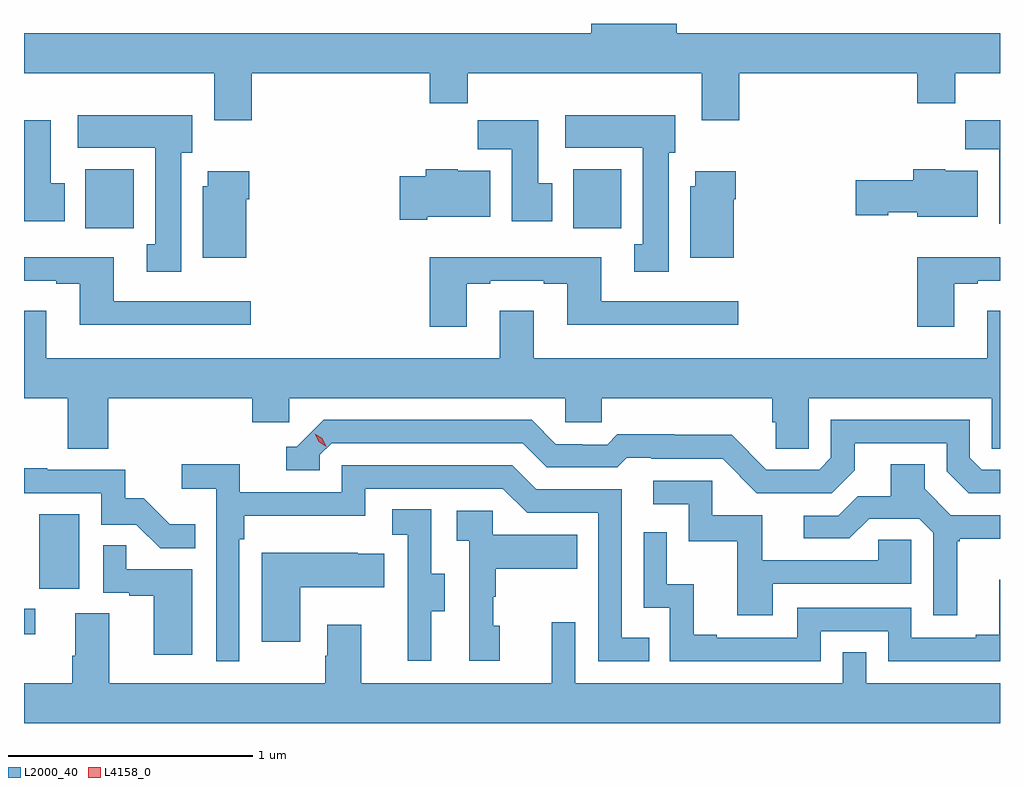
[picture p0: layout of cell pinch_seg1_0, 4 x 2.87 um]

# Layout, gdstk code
import gdstk
lib = gdstk.Library(unit=1e-6, precision=1e-09)
def R(c, l, rs):  # rectangles x0, y0, x1, y1
    for r in rs: c.add(gdstk.rectangle(r[:2], r[2:], *l))
def P(c, l, *ps):  # polygons
    for p in ps: c.add(gdstk.Polygon(p, *l))
L2000_40 = (2000, 40)
L4158_0 = (4158, 0)

pinch_seg1_0 = lib.new_cell('pinch_seg1_0')
R(pinch_seg1_0, L2000_40, [(1090.331,580.068,1090.378,580.173), (1090.394,580.254,1090.558,580.561), (1090.583,581.732,1090.78,581.974), (1092.581,581.732,1092.778,581.974)])
P(pinch_seg1_0, L2000_40, [(1091.264,582.368),(1091.993,582.368),(1091.993,582.244),(1092.149,582.244),(1092.149,582.368),(1093.109,582.368),(1093.109,582.174),(1093.262,582.174),(1093.262,582.368),(1093.991,582.368),(1093.991,582.244),(1094.147,582.244),(1094.147,582.368),(1094.331,582.368),(1094.331,582.532),(1093.006,582.532),(1093.006,582.57),(1092.656,582.57),(1092.656,582.532),(1090.331,582.532),(1090.331,582.368),(1091.111,582.368),(1091.111,582.174),(1091.264,582.174)],
  [(1090.975,582.042),(1091.02,582.042),(1091.02,582.196),(1090.551,582.196),(1090.551,582.062),(1090.868,582.062),(1090.868,581.666),(1090.835,581.666),(1090.835,581.553),(1090.975,581.553)],
  [(1092.973,582.042),(1093,582.042),(1093,582.196),(1092.549,582.196),(1092.549,582.062),(1092.866,582.062),(1092.866,581.666),(1092.833,581.666),(1092.833,581.553),(1092.973,581.553)],
  [(1092.496,581.916),(1092.439,581.916),(1092.439,582.175),(1092.19,582.175),(1092.19,582.056),(1092.329,582.056),(1092.329,581.76),(1092.496,581.76)],
  [(1094.331,582.175),(1094.188,582.175),(1094.188,582.056),(1094.327,582.056),(1094.327,581.75),(1094.331,581.75)],
  [(1090.498,581.916),(1090.441,581.916),(1090.441,582.175),(1090.331,582.175),(1090.331,581.76),(1090.498,581.76)],
  [(1091.983,581.78),(1092.241,581.78),(1092.241,581.968),(1092.108,581.968),(1092.108,581.974),(1091.978,581.974),(1091.978,581.946),(1091.871,581.946),(1091.871,581.768),(1091.983,581.768)],
  [(1094.239,581.968),(1094.106,581.968),(1094.106,581.974),(1093.976,581.974),(1093.976,581.928),(1093.74,581.928),(1093.74,581.786),(1093.872,581.786),(1093.872,581.798),(1093.992,581.798),(1093.992,581.78),(1094.239,581.78)],
  [(1093.24,581.852),(1093.248,581.852),(1093.248,581.965),(1093.082,581.965),(1093.082,581.904),(1093.061,581.904),(1093.061,581.612),(1093.24,581.612)],
  [(1091.242,581.852),(1091.255,581.852),(1091.255,581.965),(1091.084,581.965),(1091.084,581.904),(1091.063,581.904),(1091.063,581.612),(1091.242,581.612)],
  [(1091.26,581.433),(1090.699,581.433),(1090.699,581.614),(1090.331,581.614),(1090.331,581.517),(1090.463,581.517),(1090.463,581.505),(1090.559,581.505),(1090.559,581.336),(1091.26,581.336)],
  [(1092.145,581.505),(1092.241,581.505),(1092.241,581.517),(1092.461,581.517),(1092.461,581.505),(1092.557,581.505),(1092.557,581.336),(1093.258,581.336),(1093.258,581.433),(1092.697,581.433),(1092.697,581.614),(1091.993,581.614),(1091.993,581.328),(1092.145,581.328)],
  [(1094.143,581.505),(1094.239,581.505),(1094.239,581.517),(1094.331,581.517),(1094.331,581.614),(1093.991,581.614),(1093.991,581.328),(1094.143,581.328)],
  [(1090.676,581.036),(1091.267,581.036),(1091.267,580.938),(1091.418,580.938),(1091.418,581.036),(1092.549,581.036),(1092.549,580.938),(1092.699,580.938),(1092.699,581.036),(1093.397,581.036),(1093.397,580.938),(1093.411,580.938),(1093.411,580.828),(1093.548,580.828),(1093.548,581.036),(1094.298,581.036),(1094.298,580.828),(1094.331,580.828),(1094.331,581.395),(1094.279,581.395),(1094.279,581.2),(1092.421,581.2),(1092.421,581.395),(1092.281,581.395),(1092.281,581.2),(1090.423,581.2),(1090.423,581.395),(1090.331,581.395),(1090.331,581.036),(1090.511,581.036),(1090.511,580.828),(1090.676,580.828)],
  [(1093.735,580.741),(1093.735,580.851),(1094.112,580.851),(1094.112,580.737),(1094.202,580.647),(1094.331,580.647),(1094.331,580.743),(1094.256,580.743),(1094.208,580.791),(1094.208,580.947),(1093.638,580.947),(1093.638,580.791),(1093.59,580.743),(1093.374,580.743),(1093.232,580.885),(1092.996,580.885),(1092.996,580.888),(1092.763,580.888),(1092.721,580.845),(1092.618,580.845),(1092.618,580.848),(1092.511,580.848),(1092.412,580.947),(1091.559,580.947),(1091.448,580.836),(1091.405,580.836),(1091.405,580.74),(1091.544,580.74),(1091.544,580.803),(1091.592,580.851),(1092.375,580.851),(1092.474,580.752),(1092.763,580.752),(1092.802,580.791),(1092.901,580.791),(1092.901,580.788),(1093.194,580.788),(1093.335,580.647),(1093.641,580.647)],
  [(1094.155,580.449),(1094.167,580.449),(1094.167,580.46),(1094.331,580.46),(1094.331,580.557),(1094.13,580.557),(1094.023,580.664),(1094.023,580.766),(1093.883,580.766),(1093.883,580.634),(1093.748,580.634),(1093.668,580.554),(1093.527,580.554),(1093.527,580.461),(1093.714,580.461),(1093.795,580.542),(1094.001,580.542),(1094.058,580.485),(1094.058,580.146),(1094.155,580.146)],
  [(1091.214,580.457),(1091.234,580.457),(1091.234,580.553),(1091.73,580.553),(1091.73,580.665),(1092.294,580.665),(1092.393,580.566),(1092.684,580.566),(1092.684,579.957),(1092.893,579.957),(1092.893,580.053),(1092.78,580.053),(1092.78,580.662),(1092.43,580.662),(1092.331,580.761),(1091.634,580.761),(1091.634,580.65),(1091.216,580.65),(1091.216,580.766),(1090.977,580.766),(1090.977,580.664),(1091.118,580.664),(1091.118,579.957),(1091.214,579.957)],
  [(1091.033,580.519),(1090.929,580.519),(1090.822,580.626),(1090.746,580.626),(1090.746,580.743),(1090.427,580.743),(1090.427,580.748),(1090.331,580.748),(1090.331,580.647),(1090.647,580.647),(1090.647,580.518),(1090.791,580.518),(1090.889,580.42),(1091.033,580.42)],
  [(1093.399,580.275),(1093.968,580.275),(1093.968,580.455),(1093.831,580.455),(1093.831,580.371),(1093.357,580.371),(1093.357,580.557),(1093.152,580.557),(1093.152,580.698),(1092.909,580.698),(1092.909,580.602),(1093.056,580.602),(1093.056,580.449),(1093.255,580.449),(1093.255,580.146),(1093.399,580.146)],
  [(1092.001,580.162),(1092.055,580.162),(1092.055,580.317),(1092,580.317),(1092,580.58),(1091.841,580.58),(1091.841,580.477),(1091.904,580.477),(1091.904,580.173),(1091.903,580.173),(1091.903,579.96),(1092.001,579.96)],
  [(1092.28,580.104),(1092.255,580.104),(1092.255,580.223),(1092.265,580.223),(1092.265,580.337),(1092.599,580.337),(1092.599,580.477),(1092.252,580.477),(1092.252,580.575),(1092.105,580.575),(1092.105,580.451),(1092.156,580.451),(1092.156,579.96),(1092.28,579.96)],
  [(1093.596,580.08),(1093.872,580.08),(1093.872,579.957),(1094.331,579.957),(1094.331,580.291),(1094.327,580.291),(1094.327,580.066),(1094.231,580.066),(1094.231,580.053),(1093.968,580.053),(1093.968,580.176),(1093.5,580.176),(1093.5,580.053),(1093.171,580.053),(1093.171,580.066),(1093.076,580.066),(1093.076,580.274),(1092.966,580.274),(1092.966,580.486),(1092.87,580.486),(1092.87,580.176),(1092.978,580.176),(1092.978,579.957),(1093.596,579.957)],
  [(1091.02,580.335),(1090.751,580.335),(1090.751,580.433),(1090.656,580.433),(1090.656,580.239),(1090.763,580.239),(1090.763,580.227),(1090.862,580.227),(1090.862,579.984),(1091.02,579.984)],
  [(1091.464,580.262),(1091.807,580.262),(1091.807,580.399),(1091.699,580.399),(1091.699,580.402),(1091.306,580.402),(1091.306,580.038),(1091.464,580.038)],
  [(1091.573,580.108),(1091.573,579.98),(1091.566,579.98),(1091.566,579.868),(1090.681,579.868),(1090.681,580.154),(1090.541,580.154),(1090.541,579.98),(1090.529,579.98),(1090.529,579.868),(1090.331,579.868),(1090.331,579.704),(1094.331,579.704),(1094.331,579.868),(1093.782,579.868),(1093.782,579.995),(1093.686,579.995),(1093.686,579.868),(1092.591,579.868),(1092.591,580.117),(1092.494,580.117),(1092.494,579.868),(1091.713,579.868),(1091.713,580.108)])
P(pinch_seg1_0, L4158_0, [(1091.569,580.837),(1091.538,580.857),(1091.522,580.89),(1091.522,580.89),(1091.523,580.89),(1091.553,580.871),(1091.569,580.838),(1091.569,580.837)])

lib.write_gds('pinch_seg1_0.gds')
